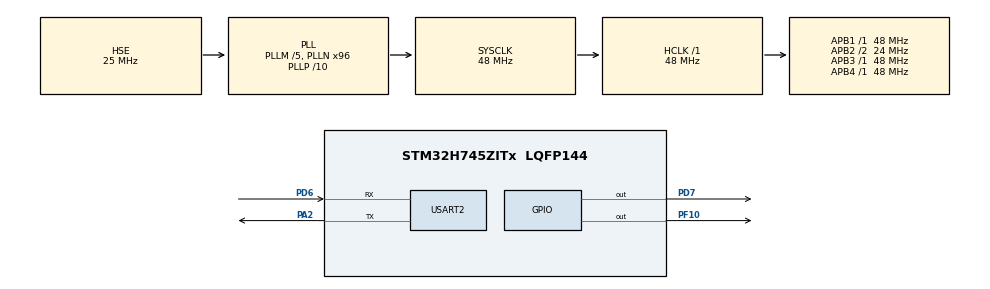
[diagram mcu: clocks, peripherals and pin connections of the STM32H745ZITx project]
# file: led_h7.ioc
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CORTEX_M7.default_mode_Activation=1
CortexM4.IPs=BDMA,CORTEX_M4\:I,DMA,FATFS_M4\:I,FREERTOS_M4\:I,GPIO,IWDG2\:I,MDMA,NVIC2\:I,OPENAMP_M4\:I,PDM2PCM_M4\:I,PWR,RCC,RESMGR_UTILITY,SYS_M4\:I,USB_DEVICE_M4\:I,USB_HOST_M4\:I,VREFBUF,WWDG2\:I,DEBUG
CortexM4.Pins=PD7
CortexM7.IPs=BDMA\:I,CORTEX_M7\:I,DMA\:I,FATFS_M7\:I,FREERTOS_M7\:I,GPIO\:I,IWDG1\:I,MDMA\:I,NVIC1\:I,OPENAMP_M7\:I,PDM2PCM_M7\:I,PWR\:I,RCC\:I,RESMGR_UTILITY\:I,SYS\:I,USB_DEVICE_M7\:I,USB_HOST_M7\:I,VREFBUF\:I,WWDG1\:I,MEMORYMAP\:I,DEBUG\:I,USART2\:I
CortexM7.Pins=PF10
Mcu.Family=STM32H7
Mcu.Name=STM32H745ZITx
Mcu.Package=LQFP144
NVIC1.PriorityGroup=NVIC_PRIORITYGROUP_4
NVIC1.USART2_IRQn=true\:0\:0\:false\:false\:true\:true\:true\:true
NVIC2.PriorityGroup=NVIC_PRIORITYGROUP_4
PA2.Mode=Asynchronous
PA2.PinAttribute=CortexM7
PA2.Signal=USART2_TX
PD6.Mode=Asynchronous
PD6.PinAttribute=CortexM7
PD6.Signal=USART2_RX
PD7.PinAttribute=CortexM4
PD7.Signal=GPIO_Output
PF10.PinAttribute=CortexM7
PF10.Signal=GPIO_Output
PH0-OSC_IN\ (PH0).Mode=HSE-External-Oscillator
PH0-OSC_IN\ (PH0).PinAttribute=Free
PH0-OSC_IN\ (PH0).Signal=RCC_OSC_IN
PH1-OSC_OUT\ (PH1).Mode=HSE-External-Oscillator
PH1-OSC_OUT\ (PH1).PinAttribute=Free
PH1-OSC_OUT\ (PH1).Signal=RCC_OSC_OUT
ProjectManager.HeapSize=M4-0x200,M7-0x200
ProjectManager.StackSize=M4-0x400,M7-0x400
ProjectManager.TargetToolchain=STM32CubeIDE
RCC.ADCFreq_Value=50390625
RCC.APB1Freq_Value=48000000
RCC.APB2Freq_Value=24000000
RCC.APB3Freq_Value=48000000
RCC.APB4Freq_Value=48000000
RCC.CortexFreq_Value=48000000
RCC.D2PPRE2=RCC_APB2_DIV2
RCC.DIVM1=5
RCC.DIVN1=96
RCC.DIVP1=10
RCC.HCLKFreq_Value=48000000
RCC.PLL2FRACN=0
RCC.PLL3FRACN=0
RCC.PLLFRACN=0
RCC.PLLSourceVirtual=RCC_PLLSOURCE_HSE
RCC.SYSCLKFreq_VALUE=48000000
RCC.SYSCLKSource=RCC_SYSCLKSOURCE_PLLCLK
RCC.SupplySource=PWR_LDO_SUPPLY
RCC.USBFreq_Value=240000000
SYS.userName=SYS_M7
USART2.VirtualMode-Asynchronous=VM_ASYNC
VP_MEMORYMAP_VS_MEMORYMAP.Mode=CurAppReg
VP_SYS_M4_VS_Systick.Mode=SysTick
board=custom

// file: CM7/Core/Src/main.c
/* USER CODE BEGIN Header */
/**
  ******************************************************************************
  * @file           : main.c
  * @brief          : Main program body
  ******************************************************************************
  * @attention
  *
  * Copyright (c) 2025 STMicroelectronics.
  * All rights reserved.
  *
  * This software is licensed under terms that can be found in the LICENSE file
  * in the root directory of this software component.
  * If no LICENSE file comes with this software, it is provided AS-IS.
  *
  ******************************************************************************
  */
/* USER CODE END Header */
#include "main.h"

/* USER CODE BEGIN Includes */
#include "scheduler.h"
#include "command.h"
/* USER CODE END Includes */

/* USER CODE BEGIN PTD */
#define USE_CORE_M4
/* USER CODE END PTD */

/* USER CODE BEGIN PD */

#ifndef HSEM_ID_0
#define HSEM_ID_0 (0U) /* HW semaphore 0*/
#endif

/* USER CODE END PD */

void SystemClock_Config(void);
static void MPU_Config(void);
static void MX_GPIO_Init(void);
static void MX_USART2_UART_Init(void);

/* USER CODE BEGIN 0 */
static void Status_Led(void*);

#define         SCHEDULER_TASK_COUNT  2
uint32_t g_ui32SchedulerNumTasks = SCHEDULER_TASK_COUNT;
tSchedulerTask g_psSchedulerTable[SCHEDULER_TASK_COUNT] = {
    {
        .pfnFunction = Status_Led,           // Hàm điều khiển LED trạng thái
        .pvParam = (void*)0,                 // Không có tham số
        .ui32FrequencyTicks = 500,           // Gọi mỗi 500ms (500 tick, giả sử 1 tick = 1ms)
        .ui32LastCall = 0,                   // Khởi tạo thời điểm gọi lần cuối
        .bActive = true                      // Kích hoạt
    },
    {
        .pfnFunction = command_task_update, // Hàm xử lý lệnh UART
        .pvParam = (void*)0,                 // Không có tham số
        .ui32FrequencyTicks = 10,             // Gọi mỗi 10ms (10 tick, giả sử 1 tick = 1ms)
        .ui32LastCall = 0,                   // Khởi tạo thời điểm gọi lần cuối
        .bActive = true                      // Kích hoạt
    }
};

void Status_Led(void*)
{
	HAL_GPIO_TogglePin(GPIOF, GPIO_PIN_10);
}
/* USER CODE END 0 */

int main(void)
{

/* USER CODE BEGIN Boot_Mode_Sequence_0 */

/* USER CODE END Boot_Mode_Sequence_0 */

  /* MPU Configuration--------------------------------------------------------*/
  MPU_Config();

/* USER CODE BEGIN Boot_Mode_Sequence_1 */
  /* Wait until CPU2 boots and enters in stop mode or timeout*/
//  while(__HAL_RCC_GET_FLAG(RCC_FLAG_D2CKRDY) != RESET);
/* USER CODE END Boot_Mode_Sequence_1 */
  /* MCU Configuration--------------------------------------------------------*/

  /* Reset of all peripherals, Initializes the Flash interface and the Systick. */
  HAL_Init();

  /* Configure the system clock */
  SystemClock_Config();
/* USER CODE BEGIN Boot_Mode_Sequence_2 */
#ifdef USE_CORE_M4
  __HAL_RCC_HSEM_CLK_ENABLE();
  HAL_HSEM_FastTake(1);

  while(!HAL_HSEM_IsSemTaken(0));
  HAL_HSEM_Release(0, 0);
  while (!__HAL_RCC_GET_FLAG(RCC_FLAG_D2CKRDY));
#endif
/* USER CODE END Boot_Mode_Sequence_2 */

  /* Initialize all configured peripherals */
  MX_GPIO_Init();
  MX_USART2_UART_Init();
  /* USER CODE BEGIN 2 */
  command_init();
  /* USER CODE END 2 */

  /* Infinite loop */
  while (1)
  {

    /* USER CODE BEGIN 3 */
	  SchedulerRun();
  }
  /* USER CODE END 3 */
}

void SystemClock_Config(void)
{
  RCC_OscInitTypeDef RCC_OscInitStruct = {0};
  RCC_ClkInitTypeDef RCC_ClkInitStruct = {0};

  /** Supply configuration update enable
  */
  HAL_PWREx_ConfigSupply(PWR_LDO_SUPPLY);

  /** Configure the main internal regulator output voltage
  */
  __HAL_PWR_VOLTAGESCALING_CONFIG(PWR_REGULATOR_VOLTAGE_SCALE3);

  while(!__HAL_PWR_GET_FLAG(PWR_FLAG_VOSRDY)) {}

  /** Initializes the RCC Oscillators according to the specified parameters
  * in the RCC_OscInitTypeDef structure.
  */
  RCC_OscInitStruct.OscillatorType = RCC_OSCILLATORTYPE_HSE;
  RCC_OscInitStruct.HSEState = RCC_HSE_ON;
  RCC_OscInitStruct.PLL.PLLState = RCC_PLL_ON;
  RCC_OscInitStruct.PLL.PLLSource = RCC_PLLSOURCE_HSE;
  RCC_OscInitStruct.PLL.PLLM = 5;
  RCC_OscInitStruct.PLL.PLLN = 96;
  RCC_OscInitStruct.PLL.PLLP = 10;
  RCC_OscInitStruct.PLL.PLLQ = 2;
  RCC_OscInitStruct.PLL.PLLR = 2;
  RCC_OscInitStruct.PLL.PLLRGE = RCC_PLL1VCIRANGE_2;
  RCC_OscInitStruct.PLL.PLLVCOSEL = RCC_PLL1VCOWIDE;
  RCC_OscInitStruct.PLL.PLLFRACN = 0;
  if (HAL_RCC_OscConfig(&RCC_OscInitStruct) != HAL_OK)
  {
    Error_Handler();
  }

  /** Initializes the CPU, AHB and APB buses clocks
  */
  RCC_ClkInitStruct.ClockType = RCC_CLOCKTYPE_HCLK|RCC_CLOCKTYPE_SYSCLK
                              |RCC_CLOCKTYPE_PCLK1|RCC_CLOCKTYPE_PCLK2
                              |RCC_CLOCKTYPE_D3PCLK1|RCC_CLOCKTYPE_D1PCLK1;
  RCC_ClkInitStruct.SYSCLKSource = RCC_SYSCLKSOURCE_PLLCLK;
  RCC_ClkInitStruct.SYSCLKDivider = RCC_SYSCLK_DIV1;
  RCC_ClkInitStruct.AHBCLKDivider = RCC_HCLK_DIV1;
  RCC_ClkInitStruct.APB3CLKDivider = RCC_APB3_DIV1;
  RCC_ClkInitStruct.APB1CLKDivider = RCC_APB1_DIV1;
  RCC_ClkInitStruct.APB2CLKDivider = RCC_APB2_DIV2;
  RCC_ClkInitStruct.APB4CLKDivider = RCC_APB4_DIV1;

  if (HAL_RCC_ClockConfig(&RCC_ClkInitStruct, FLASH_LATENCY_1) != HAL_OK)
  {
    Error_Handler();
  }
}

static void MX_USART2_UART_Init(void)
{

  LL_USART_InitTypeDef USART_InitStruct = {0};

  LL_GPIO_InitTypeDef GPIO_InitStruct = {0};
  RCC_PeriphCLKInitTypeDef PeriphClkInitStruct = {0};

  /** Initializes the peripherals clock
  */
  PeriphClkInitStruct.PeriphClockSelection = RCC_PERIPHCLK_USART2;
  PeriphClkInitStruct.Usart234578ClockSelection = RCC_USART234578CLKSOURCE_D2PCLK1;
  if (HAL_RCCEx_PeriphCLKConfig(&PeriphClkInitStruct) != HAL_OK)
  {
    Error_Handler();
  }

  /* Peripheral clock enable */
  LL_APB1_GRP1_EnableClock(LL_APB1_GRP1_PERIPH_USART2);

  LL_AHB4_GRP1_EnableClock(LL_AHB4_GRP1_PERIPH_GPIOA);
  LL_AHB4_GRP1_EnableClock(LL_AHB4_GRP1_PERIPH_GPIOD);
  /**USART2 GPIO Configuration
  PA2   ------> USART2_TX
  PD6   ------> USART2_RX
  */
  GPIO_InitStruct.Pin = LL_GPIO_PIN_2;
  GPIO_InitStruct.Mode = LL_GPIO_MODE_ALTERNATE;
  GPIO_InitStruct.Speed = LL_GPIO_SPEED_FREQ_LOW;
  GPIO_InitStruct.OutputType = LL_GPIO_OUTPUT_PUSHPULL;
  GPIO_InitStruct.Pull = LL_GPIO_PULL_NO;
  GPIO_InitStruct.Alternate = LL_GPIO_AF_7;
  LL_GPIO_Init(GPIOA, &GPIO_InitStruct);

  GPIO_InitStruct.Pin = LL_GPIO_PIN_6;
  GPIO_InitStruct.Mode = LL_GPIO_MODE_ALTERNATE;
  GPIO_InitStruct.Speed = LL_GPIO_SPEED_FREQ_LOW;
  GPIO_InitStruct.OutputType = LL_GPIO_OUTPUT_PUSHPULL;
  GPIO_InitStruct.Pull = LL_GPIO_PULL_NO;
  GPIO_InitStruct.Alternate = LL_GPIO_AF_7;
  LL_GPIO_Init(GPIOD, &GPIO_InitStruct);

  /* USART2 interrupt Init */
  NVIC_SetPriority(USART2_IRQn, NVIC_EncodePriority(NVIC_GetPriorityGrouping(),0, 0));
  NVIC_EnableIRQ(USART2_IRQn);

  USART_InitStruct.PrescalerValue = LL_USART_PRESCALER_DIV1;
  USART_InitStruct.BaudRate = 115200;
  USART_InitStruct.DataWidth = LL_USART_DATAWIDTH_8B;
  USART_InitStruct.StopBits = LL_USART_STOPBITS_1;
  USART_InitStruct.Parity = LL_USART_PARITY_NONE;
  USART_InitStruct.TransferDirection = LL_USART_DIRECTION_TX_RX;
  USART_InitStruct.HardwareFlowControl = LL_USART_HWCONTROL_NONE;
  USART_InitStruct.OverSampling = LL_USART_OVERSAMPLING_16;
  LL_USART_Init(USART2, &USART_InitStruct);
  LL_USART_SetTXFIFOThreshold(USART2, LL_USART_FIFOTHRESHOLD_1_8);
  LL_USART_SetRXFIFOThreshold(USART2, LL_USART_FIFOTHRESHOLD_1_8);
  LL_USART_DisableFIFO(USART2);
  LL_USART_ConfigAsyncMode(USART2);

  LL_USART_Enable(USART2);

  /* Polling USART2 initialisation */
  while((!(LL_USART_IsActiveFlag_TEACK(USART2))) || (!(LL_USART_IsActiveFlag_REACK(USART2))))
  {
  }

}

static void MX_GPIO_Init(void)
{
  GPIO_InitTypeDef GPIO_InitStruct = {0};

  /* GPIO Ports Clock Enable */
  __HAL_RCC_GPIOF_CLK_ENABLE();
  __HAL_RCC_GPIOA_CLK_ENABLE();
  __HAL_RCC_GPIOD_CLK_ENABLE();

  /*Configure GPIO pin Output Level */
  HAL_GPIO_WritePin(GPIOF, GPIO_PIN_10, GPIO_PIN_RESET);

  /*Configure GPIO pin : PF10 */
  GPIO_InitStruct.Pin = GPIO_PIN_10;
  GPIO_InitStruct.Mode = GPIO_MODE_OUTPUT_PP;
  GPIO_InitStruct.Pull = GPIO_NOPULL;
  GPIO_InitStruct.Speed = GPIO_SPEED_FREQ_LOW;
  HAL_GPIO_Init(GPIOF, &GPIO_InitStruct);

}

 /* MPU Configuration */

void MPU_Config(void)
{
  MPU_Region_InitTypeDef MPU_InitStruct = {0};

  /* Disables the MPU */
  HAL_MPU_Disable();

  /** Initializes and configures the Region and the memory to be protected
  */
  MPU_InitStruct.Enable = MPU_REGION_ENABLE;
  MPU_InitStruct.Number = MPU_REGION_NUMBER0;
  MPU_InitStruct.BaseAddress = 0x0;
  MPU_InitStruct.Size = MPU_REGION_SIZE_4GB;
  MPU_InitStruct.SubRegionDisable = 0x87;
  MPU_InitStruct.TypeExtField = MPU_TEX_LEVEL0;
  MPU_InitStruct.AccessPermission = MPU_REGION_NO_ACCESS;
  MPU_InitStruct.DisableExec = MPU_INSTRUCTION_ACCESS_DISABLE;
  MPU_InitStruct.IsShareable = MPU_ACCESS_SHAREABLE;
  MPU_InitStruct.IsCacheable = MPU_ACCESS_NOT_CACHEABLE;
  MPU_InitStruct.IsBufferable = MPU_ACCESS_NOT_BUFFERABLE;

  HAL_MPU_ConfigRegion(&MPU_InitStruct);
  /* Enables the MPU */
  HAL_MPU_Enable(MPU_PRIVILEGED_DEFAULT);

}

void Error_Handler(void)
{
  __disable_irq();
  while (1)
  {
  }
}
